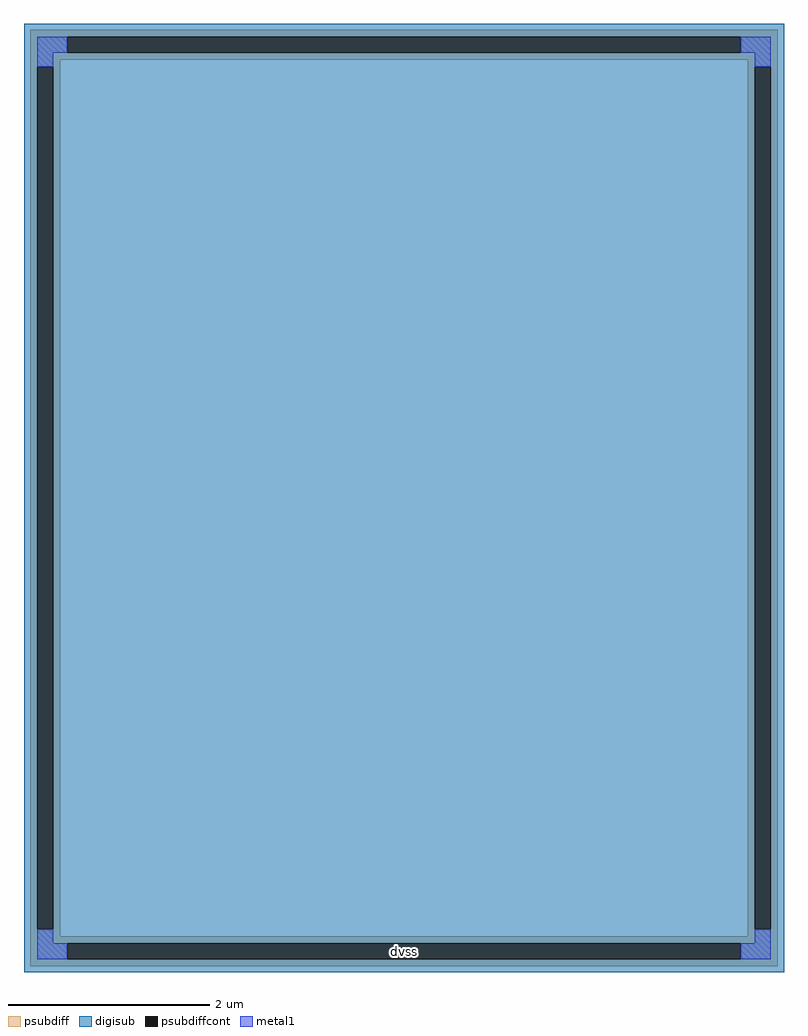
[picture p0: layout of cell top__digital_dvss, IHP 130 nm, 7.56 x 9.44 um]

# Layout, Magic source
magic
tech ihp-sg13cmos5l
<< digisub >>
rect 5430 94 6186 1038
<< psubdiff >>
rect 5436 1025 6180 1032
rect 5436 1009 5473 1025
rect 6143 1009 6180 1025
rect 5436 1002 6180 1009
rect 5436 995 5466 1002
rect 5436 137 5443 995
rect 5459 137 5466 995
rect 5436 130 5466 137
rect 6150 995 6180 1002
rect 6150 137 6157 995
rect 6173 137 6180 995
rect 6150 130 6180 137
rect 5436 123 6180 130
rect 5436 107 5473 123
rect 6143 107 6180 123
rect 5436 100 6180 107
<< psubdiffcont >>
rect 5473 1009 6143 1025
rect 5443 137 5459 995
rect 6157 137 6173 995
rect 5473 107 6143 123
<< metal1 >>
rect 5443 1009 5473 1025
rect 6143 1009 6173 1025
rect 5443 995 5459 1009
rect 5443 123 5459 137
rect 6157 995 6173 1009
rect 6157 123 6173 137
rect 5443 107 5473 123
rect 6143 107 6173 123
<< labels >>
rlabel psubdiffcont 5808 115 5808 115 0 dvss
port 1 nsew
<< end >>
